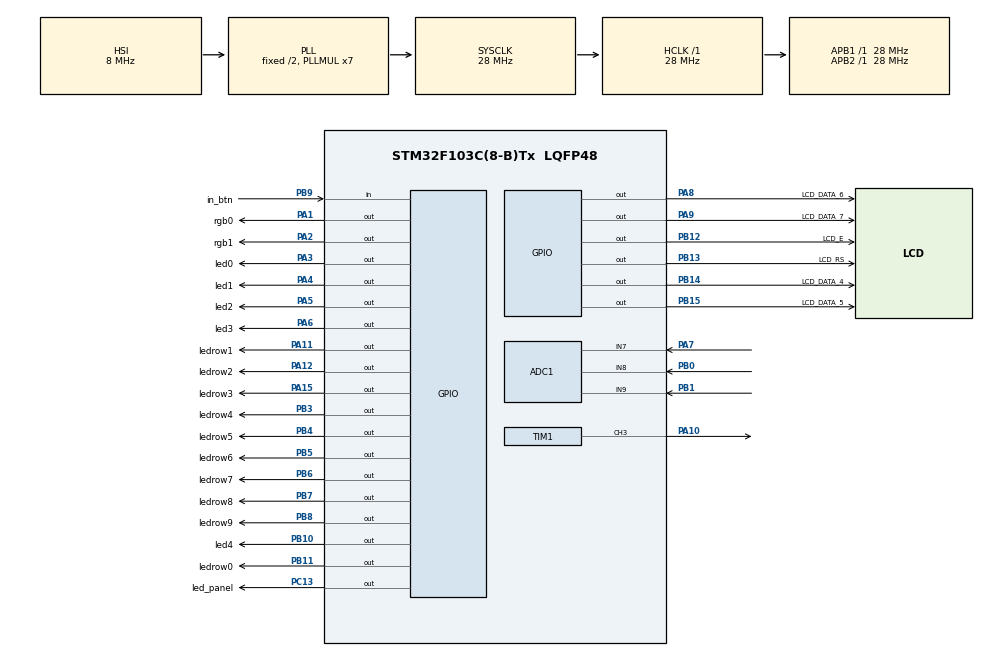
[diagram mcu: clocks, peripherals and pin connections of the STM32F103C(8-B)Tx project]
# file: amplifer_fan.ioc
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ADC1.Channel-0\#ChannelRegularConversion=ADC_CHANNEL_8
ADC1.Channel-1\#ChannelRegularConversion=ADC_CHANNEL_9
ADC1.Channel-2\#ChannelRegularConversion=ADC_CHANNEL_TEMPSENSOR
ADC1.Channel-3\#ChannelRegularConversion=ADC_CHANNEL_7
ADC1.ContinuousConvMode=ENABLE
ADC1.NbrOfConversion=4
ADC1.NbrOfConversionFlag=1
ADC1.Rank-0\#ChannelRegularConversion=1
ADC1.Rank-1\#ChannelRegularConversion=2
ADC1.Rank-2\#ChannelRegularConversion=3
ADC1.Rank-3\#ChannelRegularConversion=4
ADC1.SamplingTime-0\#ChannelRegularConversion=ADC_SAMPLETIME_239CYCLES_5
ADC1.SamplingTime-1\#ChannelRegularConversion=ADC_SAMPLETIME_239CYCLES_5
ADC1.SamplingTime-2\#ChannelRegularConversion=ADC_SAMPLETIME_239CYCLES_5
ADC1.SamplingTime-3\#ChannelRegularConversion=ADC_SAMPLETIME_239CYCLES_5
ADC1.master=1
Dma.ADC1.0.Direction=DMA_PERIPH_TO_MEMORY
Dma.ADC1.0.Instance=DMA1_Channel1
Dma.ADC1.0.MemDataAlignment=DMA_MDATAALIGN_WORD
Dma.ADC1.0.MemInc=DMA_MINC_ENABLE
Dma.ADC1.0.Mode=DMA_CIRCULAR
Dma.ADC1.0.PeriphDataAlignment=DMA_PDATAALIGN_WORD
Dma.ADC1.0.PeriphInc=DMA_PINC_DISABLE
Dma.ADC1.0.Priority=DMA_PRIORITY_LOW
Dma.Request0=ADC1
Mcu.Family=STM32F1
Mcu.Name=STM32F103C(8-B)Tx
Mcu.Package=LQFP48
NVIC.DMA1_Channel1_IRQn=true\:0\:0\:false\:false\:true\:false\:true
NVIC.PriorityGroup=NVIC_PRIORITYGROUP_4
NVIC.TIM2_IRQn=true\:0\:0\:false\:false\:true\:true\:true
NVIC.TIM3_IRQn=true\:0\:0\:false\:false\:true\:true\:true
NVIC.TIM4_IRQn=true\:0\:0\:false\:false\:true\:true\:true
PA1.GPIO_Label=rgb0
PA1.Signal=GPIO_Output
PA10.Signal=S_TIM1_CH3
PA11.GPIO_Label=ledrow1
PA11.Signal=GPIO_Output
PA12.GPIO_Label=ledrow2
PA12.Signal=GPIO_Output
PA13.Mode=Serial_Wire
PA13.Signal=SYS_JTMS-SWDIO
PA14.Mode=Serial_Wire
PA14.Signal=SYS_JTCK-SWCLK
PA15.GPIO_Label=ledrow3
PA15.Signal=GPIO_Output
PA2.GPIO_Label=rgb1
PA2.Signal=GPIO_Output
PA3.GPIO_Label=led0
PA3.Signal=GPIO_Output
PA4.GPIO_Label=led1
PA4.Signal=GPIO_Output
PA5.GPIO_Label=led2
PA5.Signal=GPIO_Output
PA6.GPIO_Label=led3
PA6.Signal=GPIO_Output
PA7.Signal=ADCx_IN7
PA8.GPIO_Label=LCD_DATA_6
PA8.Signal=GPIO_Output
PA9.GPIO_Label=LCD_DATA_7
PA9.Signal=GPIO_Output
PB0.Signal=ADCx_IN8
PB1.Signal=ADCx_IN9
PB10.GPIO_Label=led4
PB10.Signal=GPIO_Output
PB11.GPIO_Label=ledrow0
PB11.Signal=GPIO_Output
PB12.GPIO_Label=LCD_E
PB12.Signal=GPIO_Output
PB13.GPIO_Label=LCD_RS
PB13.Signal=GPIO_Output
PB14.GPIO_Label=LCD_DATA_4
PB14.Signal=GPIO_Output
PB15.GPIO_Label=LCD_DATA_5
PB15.Signal=GPIO_Output
PB3.GPIO_Label=ledrow4
PB3.Signal=GPIO_Output
PB4.GPIO_Label=ledrow5
PB4.Signal=GPIO_Output
PB5.GPIO_Label=ledrow6
PB5.Signal=GPIO_Output
PB6.GPIO_Label=ledrow7
PB6.Signal=GPIO_Output
PB7.GPIO_Label=ledrow8
PB7.Signal=GPIO_Output
PB8.GPIO_Label=ledrow9
PB8.Signal=GPIO_Output
PB9.GPIO_Label=in_btn
PB9.Signal=GPIO_Input
PC13-TAMPER-RTC.GPIO_Label=led_panel
PC13-TAMPER-RTC.Signal=GPIO_Output
PD0-OSC_IN.Mode=HSE-External-Oscillator
PD0-OSC_IN.Signal=RCC_OSC_IN
PD1-OSC_OUT.Mode=HSE-External-Oscillator
PD1-OSC_OUT.Signal=RCC_OSC_OUT
ProjectManager.HeapSize=0x200
ProjectManager.StackSize=0x400
ProjectManager.TargetToolchain=STM32CubeIDE
RCC.AHBFreq_Value=28000000
RCC.APB1Freq_Value=28000000
RCC.APB1TimFreq_Value=28000000
RCC.APB2Freq_Value=28000000
RCC.APB2TimFreq_Value=28000000
RCC.HCLKFreq_Value=28000000
RCC.PLLMUL=RCC_PLL_MUL7
RCC.SYSCLKFreq_VALUE=28000000
RCC.SYSCLKSource=RCC_SYSCLKSOURCE_PLLCLK
RCC.USBFreq_Value=28000000
SH.ADCx_IN7.0=ADC1_IN7,IN7
SH.ADCx_IN8.0=ADC1_IN8,IN8
SH.ADCx_IN9.0=ADC1_IN9,IN9
SH.S_TIM1_CH3.0=TIM1_CH3,PWM Generation3 CH3
TIM1.AutoReloadPreload=TIM_AUTORELOAD_PRELOAD_ENABLE
TIM1.Channel-PWM\ Generation3\ CH3=TIM_CHANNEL_3
TIM1.Period=250
TIM1.Prescaler=300
TIM2.Period=349
TIM2.Prescaler=39999
TIM3.Period=699
TIM3.Prescaler=39999
TIM4.Period=69
TIM4.Prescaler=39999
VP_ADC1_TempSens_Input.Mode=IN-TempSens
VP_TIM1_VS_ClockSourceINT.Mode=Internal
VP_TIM2_VS_ClockSourceINT.Mode=Internal
VP_TIM3_VS_ClockSourceINT.Mode=Internal
VP_TIM4_VS_ClockSourceINT.Mode=Internal
board=custom

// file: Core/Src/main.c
/* USER CODE BEGIN Header */
/**
  ******************************************************************************
  * @file           : main.c
  * @brief          : Main program body
  ******************************************************************************
  * @attention
  *
  * <h2><center>&copy; Copyright (c) 2021 STMicroelectronics.
  * All rights reserved.</center></h2>
  *
  * This software component is licensed by ST under BSD 3-Clause license,
  * the "License"; You may not use this file except in compliance with the
  * License. You may obtain a copy of the License at:
  *                        opensource.org/licenses/BSD-3-Clause
  *
  ******************************************************************************
  */
/* USER CODE END Header */
#include "main.h"

/* USER CODE BEGIN Includes */
#include "lcd.h"
#include "functions.h"
#include "ledrow.h"
/* USER CODE END Includes */

ADC_HandleTypeDef hadc1;
DMA_HandleTypeDef hdma_adc1;

TIM_HandleTypeDef htim1;
TIM_HandleTypeDef htim2;
TIM_HandleTypeDef htim3;
TIM_HandleTypeDef htim4;

/* USER CODE BEGIN PV */
v8 flag0 = 0;
v8 flag_rgb = 0;
u32 data_DMAadc[4] = {0,0,0,0};
uch buffer[20];
bool flag_btn = 0, flag_btn_1 = 0;
float temp_f;
float lm35 = 0.0;
float tmp_adc = 0.0;
/* USER CODE END PV */

void SystemClock_Config(void);
static void MX_GPIO_Init(void);
static void MX_DMA_Init(void);
static void MX_ADC1_Init(void);
static void MX_TIM2_Init(void);
static void MX_TIM3_Init(void);
static void MX_TIM4_Init(void);
static void MX_TIM1_Init(void);

int main(void)
{

  /* MCU Configuration--------------------------------------------------------*/

  /* Reset of all peripherals, Initializes the Flash interface and the Systick. */
  HAL_Init();

  /* Configure the system clock */
  SystemClock_Config();

  /* Initialize all configured peripherals */
  MX_GPIO_Init();
  MX_DMA_Init();
  MX_ADC1_Init();
  MX_TIM2_Init();
  MX_TIM3_Init();
  MX_TIM4_Init();
  MX_TIM1_Init();
  /* USER CODE BEGIN 2 */
  HAL_TIM_PWM_Start(&htim1, TIM_CHANNEL_3);
  HAL_TIM_Base_Start_IT(&htim2);
  HAL_TIM_Base_Start_IT(&htim3);
  HAL_TIM_Base_Start_IT(&htim4);
  HAL_ADC_Start_DMA(&hadc1, data_DMAadc, 4);
  LCD_init(0,0);

  /* USER CODE END 2 */

  /* Infinite loop */
  /* USER CODE BEGIN WHILE */
  LCD_test();
  //__HAL_TIM_SetCompare(&htim1,TIM_CHANNEL_3,149);
  __HAL_TIM_SetCompare(&htim1,TIM_CHANNEL_3,245);
  while (1)
  {
    /* USER CODE END WHILE */

    /* USER CODE BEGIN 3 */
	  //ledrow_max();
	 // HAL_GPIO_TogglePin(led_panel_GPIO_Port, led_panel_Pin);
	  /*
	  LCD_goto(0,0);
	  LCD_string("Na mehet...");
	  LCD_goto(1,0);
	  LCD_string("Na mehet...");
	  */
	  LCD_goto(0,0);
	  temp_f = ((3.3/4096)*data_DMAadc[0]);
	  ftoa(temp_f, buffer, 2);
	  if(temp_f < 1.0){
		  LCD_string("0");
	  	  LCD_string(buffer);
	  }else{
		  LCD_string(buffer);
	  }

	  LCD_goto(1,0);
	  tmp_adc = ((3.3/4096)*data_DMAadc[1]);
	  ftoa(tmp_adc, buffer, 2);
	  if(tmp_adc < 1.0){
		  LCD_string("0");
		  LCD_string(buffer);
	  }else{
		  LCD_string(buffer);
	  }

	  LCD_goto(0,8);
	  //temp_f = ((3.3/4096)*data_DMAadc[1]);
	  //tempADC(&temp_f, data_DMAadc[2]);
	  //ftoa(temp_f, buffer, 2);
	  temp_f = ((data_DMAadc[3]*3.3)/4096);//tempADC2(data_DMAadc[2]);
	  ftoa(temp_f, buffer, 2);
	  if(temp_f < 1.0){
		  LCD_string("0");
		  LCD_string(buffer);
	  }else{
		  LCD_string(buffer);
	  }

	  LCD_goto(1,8);
	  //temp_f = ((3.3/4096)*data_DMAadc[3]);
	  lm35 = ((data_DMAadc[3]*3.3)/4096)*100;
	  	  //tempADC(&temp_f, data_DMAadc[2]);
	  	  //ftoa(temp_f, buffer, 2);
	  //temp_f = tempADC2(data_DMAadc[4]);
	  ftoa(lm35, buffer, 2);
	  if(lm35 < 1.0){
		  LCD_string("0");
		  LCD_string(buffer);
	  }else{
		  LCD_string(buffer);
	  }
	  /*
	  HAL_Delay(500);
	  //ledrow_clear();
	  ledrow_half();
	  HAL_Delay(500);
	  ledrow_clear();*/
	  /*if(HAL_GPIO_ReadPin(in_btn_GPIO_Port, in_btn_Pin) == 1 && !flag_btn){
		  HAL_GPIO_WritePin(led0_GPIO_Port, led0_Pin, SET);
		  flag_btn = 1;
		  __HAL_TIM_SetCompare(&htim1,TIM_CHANNEL_3,250);
	  }else if(HAL_GPIO_ReadPin(in_btn_GPIO_Port, in_btn_Pin) == 1 && flag_btn){
		  HAL_GPIO_WritePin(led0_GPIO_Port, led0_Pin, RESET);
		  flag_btn = 0;
		  __HAL_TIM_SetCompare(&htim1,TIM_CHANNEL_3,245);
	  }*/
	  HAL_Delay(500);

  }
  /* USER CODE END 3 */
}

void SystemClock_Config(void)
{
  RCC_OscInitTypeDef RCC_OscInitStruct = {0};
  RCC_ClkInitTypeDef RCC_ClkInitStruct = {0};
  RCC_PeriphCLKInitTypeDef PeriphClkInit = {0};

  /** Initializes the RCC Oscillators according to the specified parameters
  * in the RCC_OscInitTypeDef structure.
  */
  RCC_OscInitStruct.OscillatorType = RCC_OSCILLATORTYPE_HSI;
  RCC_OscInitStruct.HSIState = RCC_HSI_ON;
  RCC_OscInitStruct.HSICalibrationValue = RCC_HSICALIBRATION_DEFAULT;
  RCC_OscInitStruct.PLL.PLLState = RCC_PLL_ON;
  RCC_OscInitStruct.PLL.PLLSource = RCC_PLLSOURCE_HSI_DIV2;
  RCC_OscInitStruct.PLL.PLLMUL = RCC_PLL_MUL7;
  if (HAL_RCC_OscConfig(&RCC_OscInitStruct) != HAL_OK)
  {
    Error_Handler();
  }
  /** Initializes the CPU, AHB and APB buses clocks
  */
  RCC_ClkInitStruct.ClockType = RCC_CLOCKTYPE_HCLK|RCC_CLOCKTYPE_SYSCLK
                              |RCC_CLOCKTYPE_PCLK1|RCC_CLOCKTYPE_PCLK2;
  RCC_ClkInitStruct.SYSCLKSource = RCC_SYSCLKSOURCE_PLLCLK;
  RCC_ClkInitStruct.AHBCLKDivider = RCC_SYSCLK_DIV1;
  RCC_ClkInitStruct.APB1CLKDivider = RCC_HCLK_DIV1;
  RCC_ClkInitStruct.APB2CLKDivider = RCC_HCLK_DIV1;

  if (HAL_RCC_ClockConfig(&RCC_ClkInitStruct, FLASH_LATENCY_1) != HAL_OK)
  {
    Error_Handler();
  }
  PeriphClkInit.PeriphClockSelection = RCC_PERIPHCLK_ADC;
  PeriphClkInit.AdcClockSelection = RCC_ADCPCLK2_DIV2;
  if (HAL_RCCEx_PeriphCLKConfig(&PeriphClkInit) != HAL_OK)
  {
    Error_Handler();
  }
}

static void MX_ADC1_Init(void)
{

  ADC_ChannelConfTypeDef sConfig = {0};

  /** Common config
  */
  hadc1.Instance = ADC1;
  hadc1.Init.ScanConvMode = ADC_SCAN_ENABLE;
  hadc1.Init.ContinuousConvMode = ENABLE;
  hadc1.Init.DiscontinuousConvMode = DISABLE;
  hadc1.Init.ExternalTrigConv = ADC_SOFTWARE_START;
  hadc1.Init.DataAlign = ADC_DATAALIGN_RIGHT;
  hadc1.Init.NbrOfConversion = 4;
  if (HAL_ADC_Init(&hadc1) != HAL_OK)
  {
    Error_Handler();
  }
  /** Configure Regular Channel
  */
  sConfig.Channel = ADC_CHANNEL_8;
  sConfig.Rank = ADC_REGULAR_RANK_1;
  sConfig.SamplingTime = ADC_SAMPLETIME_239CYCLES_5;
  if (HAL_ADC_ConfigChannel(&hadc1, &sConfig) != HAL_OK)
  {
    Error_Handler();
  }
  /** Configure Regular Channel
  */
  sConfig.Channel = ADC_CHANNEL_9;
  sConfig.Rank = ADC_REGULAR_RANK_2;
  if (HAL_ADC_ConfigChannel(&hadc1, &sConfig) != HAL_OK)
  {
    Error_Handler();
  }
  /** Configure Regular Channel
  */
  sConfig.Channel = ADC_CHANNEL_TEMPSENSOR;
  sConfig.Rank = ADC_REGULAR_RANK_3;
  if (HAL_ADC_ConfigChannel(&hadc1, &sConfig) != HAL_OK)
  {
    Error_Handler();
  }
  /** Configure Regular Channel
  */
  sConfig.Channel = ADC_CHANNEL_7;
  sConfig.Rank = ADC_REGULAR_RANK_4;
  if (HAL_ADC_ConfigChannel(&hadc1, &sConfig) != HAL_OK)
  {
    Error_Handler();
  }

}

static void MX_TIM1_Init(void)
{

  TIM_ClockConfigTypeDef sClockSourceConfig = {0};
  TIM_MasterConfigTypeDef sMasterConfig = {0};
  TIM_OC_InitTypeDef sConfigOC = {0};
  TIM_BreakDeadTimeConfigTypeDef sBreakDeadTimeConfig = {0};

  htim1.Instance = TIM1;
  htim1.Init.Prescaler = 300;
  htim1.Init.CounterMode = TIM_COUNTERMODE_UP;
  htim1.Init.Period = 250;
  htim1.Init.ClockDivision = TIM_CLOCKDIVISION_DIV1;
  htim1.Init.RepetitionCounter = 0;
  htim1.Init.AutoReloadPreload = TIM_AUTORELOAD_PRELOAD_ENABLE;
  if (HAL_TIM_Base_Init(&htim1) != HAL_OK)
  {
    Error_Handler();
  }
  sClockSourceConfig.ClockSource = TIM_CLOCKSOURCE_INTERNAL;
  if (HAL_TIM_ConfigClockSource(&htim1, &sClockSourceConfig) != HAL_OK)
  {
    Error_Handler();
  }
  if (HAL_TIM_PWM_Init(&htim1) != HAL_OK)
  {
    Error_Handler();
  }
  sMasterConfig.MasterOutputTrigger = TIM_TRGO_RESET;
  sMasterConfig.MasterSlaveMode = TIM_MASTERSLAVEMODE_DISABLE;
  if (HAL_TIMEx_MasterConfigSynchronization(&htim1, &sMasterConfig) != HAL_OK)
  {
    Error_Handler();
  }
  sConfigOC.OCMode = TIM_OCMODE_PWM1;
  sConfigOC.Pulse = 0;
  sConfigOC.OCPolarity = TIM_OCPOLARITY_HIGH;
  sConfigOC.OCNPolarity = TIM_OCNPOLARITY_HIGH;
  sConfigOC.OCFastMode = TIM_OCFAST_DISABLE;
  sConfigOC.OCIdleState = TIM_OCIDLESTATE_RESET;
  sConfigOC.OCNIdleState = TIM_OCNIDLESTATE_RESET;
  if (HAL_TIM_PWM_ConfigChannel(&htim1, &sConfigOC, TIM_CHANNEL_3) != HAL_OK)
  {
    Error_Handler();
  }
  sBreakDeadTimeConfig.OffStateRunMode = TIM_OSSR_DISABLE;
  sBreakDeadTimeConfig.OffStateIDLEMode = TIM_OSSI_DISABLE;
  sBreakDeadTimeConfig.LockLevel = TIM_LOCKLEVEL_OFF;
  sBreakDeadTimeConfig.DeadTime = 0;
  sBreakDeadTimeConfig.BreakState = TIM_BREAK_DISABLE;
  sBreakDeadTimeConfig.BreakPolarity = TIM_BREAKPOLARITY_HIGH;
  sBreakDeadTimeConfig.AutomaticOutput = TIM_AUTOMATICOUTPUT_DISABLE;
  if (HAL_TIMEx_ConfigBreakDeadTime(&htim1, &sBreakDeadTimeConfig) != HAL_OK)
  {
    Error_Handler();
  }
  HAL_TIM_MspPostInit(&htim1);

}

static void MX_TIM2_Init(void)
{

  TIM_ClockConfigTypeDef sClockSourceConfig = {0};
  TIM_MasterConfigTypeDef sMasterConfig = {0};

  htim2.Instance = TIM2;
  htim2.Init.Prescaler = 39999;
  htim2.Init.CounterMode = TIM_COUNTERMODE_UP;
  htim2.Init.Period = 349;
  htim2.Init.ClockDivision = TIM_CLOCKDIVISION_DIV1;
  htim2.Init.AutoReloadPreload = TIM_AUTORELOAD_PRELOAD_DISABLE;
  if (HAL_TIM_Base_Init(&htim2) != HAL_OK)
  {
    Error_Handler();
  }
  sClockSourceConfig.ClockSource = TIM_CLOCKSOURCE_INTERNAL;
  if (HAL_TIM_ConfigClockSource(&htim2, &sClockSourceConfig) != HAL_OK)
  {
    Error_Handler();
  }
  sMasterConfig.MasterOutputTrigger = TIM_TRGO_RESET;
  sMasterConfig.MasterSlaveMode = TIM_MASTERSLAVEMODE_DISABLE;
  if (HAL_TIMEx_MasterConfigSynchronization(&htim2, &sMasterConfig) != HAL_OK)
  {
    Error_Handler();
  }

}

static void MX_TIM3_Init(void)
{

  TIM_ClockConfigTypeDef sClockSourceConfig = {0};
  TIM_MasterConfigTypeDef sMasterConfig = {0};

  htim3.Instance = TIM3;
  htim3.Init.Prescaler = 39999;
  htim3.Init.CounterMode = TIM_COUNTERMODE_UP;
  htim3.Init.Period = 699;
  htim3.Init.ClockDivision = TIM_CLOCKDIVISION_DIV1;
  htim3.Init.AutoReloadPreload = TIM_AUTORELOAD_PRELOAD_DISABLE;
  if (HAL_TIM_Base_Init(&htim3) != HAL_OK)
  {
    Error_Handler();
  }
  sClockSourceConfig.ClockSource = TIM_CLOCKSOURCE_INTERNAL;
  if (HAL_TIM_ConfigClockSource(&htim3, &sClockSourceConfig) != HAL_OK)
  {
    Error_Handler();
  }
  sMasterConfig.MasterOutputTrigger = TIM_TRGO_RESET;
  sMasterConfig.MasterSlaveMode = TIM_MASTERSLAVEMODE_DISABLE;
  if (HAL_TIMEx_MasterConfigSynchronization(&htim3, &sMasterConfig) != HAL_OK)
  {
    Error_Handler();
  }

}

static void MX_TIM4_Init(void)
{

  TIM_ClockConfigTypeDef sClockSourceConfig = {0};
  TIM_MasterConfigTypeDef sMasterConfig = {0};

  htim4.Instance = TIM4;
  htim4.Init.Prescaler = 39999;
  htim4.Init.CounterMode = TIM_COUNTERMODE_UP;
  htim4.Init.Period = 69;
  htim4.Init.ClockDivision = TIM_CLOCKDIVISION_DIV1;
  htim4.Init.AutoReloadPreload = TIM_AUTORELOAD_PRELOAD_DISABLE;
  if (HAL_TIM_Base_Init(&htim4) != HAL_OK)
  {
    Error_Handler();
  }
  sClockSourceConfig.ClockSource = TIM_CLOCKSOURCE_INTERNAL;
  if (HAL_TIM_ConfigClockSource(&htim4, &sClockSourceConfig) != HAL_OK)
  {
    Error_Handler();
  }
  sMasterConfig.MasterOutputTrigger = TIM_TRGO_RESET;
  sMasterConfig.MasterSlaveMode = TIM_MASTERSLAVEMODE_DISABLE;
  if (HAL_TIMEx_MasterConfigSynchronization(&htim4, &sMasterConfig) != HAL_OK)
  {
    Error_Handler();
  }

}

static void MX_DMA_Init(void)
{

  /* DMA controller clock enable */
  __HAL_RCC_DMA1_CLK_ENABLE();

  /* DMA interrupt init */
  /* DMA1_Channel1_IRQn interrupt configuration */
  HAL_NVIC_SetPriority(DMA1_Channel1_IRQn, 0, 0);
  HAL_NVIC_EnableIRQ(DMA1_Channel1_IRQn);

}

static void MX_GPIO_Init(void)
{
  GPIO_InitTypeDef GPIO_InitStruct = {0};

  /* GPIO Ports Clock Enable */
  __HAL_RCC_GPIOC_CLK_ENABLE();
  __HAL_RCC_GPIOD_CLK_ENABLE();
  __HAL_RCC_GPIOA_CLK_ENABLE();
  __HAL_RCC_GPIOB_CLK_ENABLE();

  /*Configure GPIO pin Output Level */
  HAL_GPIO_WritePin(led_panel_GPIO_Port, led_panel_Pin, GPIO_PIN_RESET);

  /*Configure GPIO pin Output Level */
  HAL_GPIO_WritePin(GPIOA, rgb0_Pin|rgb1_Pin|led0_Pin|led1_Pin
                          |led2_Pin|led3_Pin|LCD_DATA_6_Pin|LCD_DATA_7_Pin
                          |ledrow1_Pin|ledrow2_Pin|ledrow3_Pin, GPIO_PIN_RESET);

  /*Configure GPIO pin Output Level */
  HAL_GPIO_WritePin(GPIOB, led4_Pin|ledrow0_Pin|LCD_E_Pin|LCD_RS_Pin
                          |LCD_DATA_4_Pin|LCD_DATA_5_Pin|ledrow4_Pin|ledrow5_Pin
                          |ledrow6_Pin|ledrow7_Pin|ledrow8_Pin|ledrow9_Pin, GPIO_PIN_RESET);

  /*Configure GPIO pin : led_panel_Pin */
  GPIO_InitStruct.Pin = led_panel_Pin;
  GPIO_InitStruct.Mode = GPIO_MODE_OUTPUT_PP;
  GPIO_InitStruct.Pull = GPIO_NOPULL;
  GPIO_InitStruct.Speed = GPIO_SPEED_FREQ_LOW;
  HAL_GPIO_Init(led_panel_GPIO_Port, &GPIO_InitStruct);

  /*Configure GPIO pins : rgb0_Pin rgb1_Pin led0_Pin led1_Pin
                           led2_Pin led3_Pin LCD_DATA_6_Pin LCD_DATA_7_Pin
                           ledrow1_Pin ledrow2_Pin ledrow3_Pin */
  GPIO_InitStruct.Pin = rgb0_Pin|rgb1_Pin|led0_Pin|led1_Pin
                          |led2_Pin|led3_Pin|LCD_DATA_6_Pin|LCD_DATA_7_Pin
                          |ledrow1_Pin|ledrow2_Pin|ledrow3_Pin;
  GPIO_InitStruct.Mode = GPIO_MODE_OUTPUT_PP;
  GPIO_InitStruct.Pull = GPIO_NOPULL;
  GPIO_InitStruct.Speed = GPIO_SPEED_FREQ_LOW;
  HAL_GPIO_Init(GPIOA, &GPIO_InitStruct);

  /*Configure GPIO pins : led4_Pin ledrow0_Pin LCD_E_Pin LCD_RS_Pin
                           LCD_DATA_4_Pin LCD_DATA_5_Pin ledrow4_Pin ledrow5_Pin
                           ledrow6_Pin ledrow7_Pin ledrow8_Pin ledrow9_Pin */
  GPIO_InitStruct.Pin = led4_Pin|ledrow0_Pin|LCD_E_Pin|LCD_RS_Pin
                          |LCD_DATA_4_Pin|LCD_DATA_5_Pin|ledrow4_Pin|ledrow5_Pin
                          |ledrow6_Pin|ledrow7_Pin|ledrow8_Pin|ledrow9_Pin;
  GPIO_InitStruct.Mode = GPIO_MODE_OUTPUT_PP;
  GPIO_InitStruct.Pull = GPIO_NOPULL;
  GPIO_InitStruct.Speed = GPIO_SPEED_FREQ_LOW;
  HAL_GPIO_Init(GPIOB, &GPIO_InitStruct);

  /*Configure GPIO pin : in_btn_Pin */
  GPIO_InitStruct.Pin = in_btn_Pin;
  GPIO_InitStruct.Mode = GPIO_MODE_INPUT;
  GPIO_InitStruct.Pull = GPIO_NOPULL;
  HAL_GPIO_Init(in_btn_GPIO_Port, &GPIO_InitStruct);

}

/* USER CODE BEGIN 4 */
void HAL_TIM_PeriodElapsedCallback(TIM_HandleTypeDef *htim){
	if(htim-> Instance == TIM2){
			HAL_GPIO_TogglePin(led_panel_GPIO_Port, led_panel_Pin);
		}
	if(htim-> Instance == TIM3){
		/*if(tmp_adc < 1.0){
			ledrow1();
		}else if(tmp_adc > 3.0){
			ledrow8();
		}else if(2.0 < tmp_adc && tmp_adc < 2.9 ){
			ledrow_half();
		}*/
		if(lm35 <= 4.0){
			ledrow0();
		}else if(4.0 < lm35 && lm35 <= 8.0){
			ledrow1();
		}else if(8.0 < lm35 && lm35 <= 12.0){
			ledrow2();
		}else if(12.0 < lm35 && lm35 <= 16.0){
			ledrow3();
		}else if(20.0 < lm35 && lm35 <= 24.0){
			ledrow4();
		}else if(24.0 < lm35 && lm35 <= 28.0){
			ledrow5();
		}else if(28.0 < lm35 && lm35 <= 32.0){
			ledrow6();
		}else if(32.0 < lm35 && lm35 <= 36.0){
			ledrow7();
		}else if(36.0 < lm35 && lm35 <= 40.0){
			ledrow8();
		}else if( 41.0 < lm35){
			ledrow_max();
		}

		/*switch(flag0){
			case 0:
				ledrow0();
				flag0++;
			 break;
			case 1:
				ledrow1();
				flag0++;
			 break;
			case 2:
				ledrow2();
				flag0++;
			 break;
			case 3:
				ledrow3();
				flag0++;
			 break;
			case 4:
				ledrow4();
				flag0++;
			 break;
			case 5:
				ledrow5();
				flag0++;
			 break;
			case 6:
				ledrow6();
				flag0++;
			 break;
			case 7:
				ledrow7();
				flag0++;
			 break;
			case 8:
				ledrow8();
				flag0++;
			 break;
			case 9:
				ledrow_max();
				flag0 = 0;
			 break;
			default:
				break;
			}
			*/

	}
	/*
	if(htim-> Instance == TIM3){
		switch(flag0){
			case 0:
				HAL_GPIO_TogglePin(led0_GPIO_Port, led0_Pin);
				flag0++;
			 break;
			case 1:
				HAL_GPIO_TogglePin(led1_GPIO_Port, led1_Pin);
				flag0++;
			 break;
			case 2:
				HAL_GPIO_TogglePin(led2_GPIO_Port, led2_Pin);
				flag0++;
			 break;
			case 3:
				HAL_GPIO_TogglePin(led3_GPIO_Port, led3_Pin);
				flag0++;
			 break;
			case 4:
				HAL_GPIO_TogglePin(led4_GPIO_Port, led4_Pin);
				flag0 = 0;
			 break;
			default:
				break;
		}
	}*/
	if(htim->Instance == TIM4){
		switch(flag_btn_1){
			case 0:
				if(HAL_GPIO_ReadPin(in_btn_GPIO_Port, in_btn_Pin) == 1 && !flag_btn){
					HAL_GPIO_WritePin(led0_GPIO_Port, led0_Pin, SET);
					flag_btn = 1;
					flag_btn_1 = 1;
					__HAL_TIM_SetCompare(&htim1,TIM_CHANNEL_3,250);
				}else if(HAL_GPIO_ReadPin(in_btn_GPIO_Port, in_btn_Pin) == 0 && flag_btn){
					//HAL_GPIO_WritePin(led0_GPIO_Port, led0_Pin, RESET);
					flag_btn = 0;
				}
			 break;
			case 1:
				if(HAL_GPIO_ReadPin(in_btn_GPIO_Port, in_btn_Pin) == 1 && !flag_btn){
					HAL_GPIO_WritePin(led0_GPIO_Port, led0_Pin, RESET);
					flag_btn = 1;
					flag_btn_1 = 0;
					__HAL_TIM_SetCompare(&htim1,TIM_CHANNEL_3,245);
				}else if(HAL_GPIO_ReadPin(in_btn_GPIO_Port, in_btn_Pin) == 0 && flag_btn){
					//HAL_GPIO_WritePin(led0_GPIO_Port, led0_Pin, RESET);
					flag_btn = 0;
				}
			 break;

		}

		/*switch(flag_rgb){
			case 0:
				HAL_GPIO_TogglePin(rgb0_GPIO_Port, rgb0_Pin);
				flag_rgb++;
			 break;
			case 1:
				HAL_GPIO_TogglePin(rgb0_GPIO_Port, rgb0_Pin);
				HAL_GPIO_TogglePin(rgb1_GPIO_Port, rgb1_Pin);
				flag_rgb++;
			 break;
			case 2:
				//HAL_GPIO_TogglePin(rgb1_GPIO_Port, rgb1_Pin);
				HAL_GPIO_TogglePin(rgb0_GPIO_Port, rgb0_Pin);
				flag_rgb++;
			 break;
			case 3:
				HAL_GPIO_TogglePin(rgb1_GPIO_Port, rgb1_Pin);
				HAL_GPIO_TogglePin(rgb0_GPIO_Port, rgb0_Pin);
				flag_rgb = 0;
			 break;
			default:
				break;
		}*/
	}
}
/* USER CODE END 4 */

void Error_Handler(void)
{
  __disable_irq();
  while (1)
  {
  }
}

/************************ (C) COPYRIGHT STMicroelectronics *****END OF FILE****/
